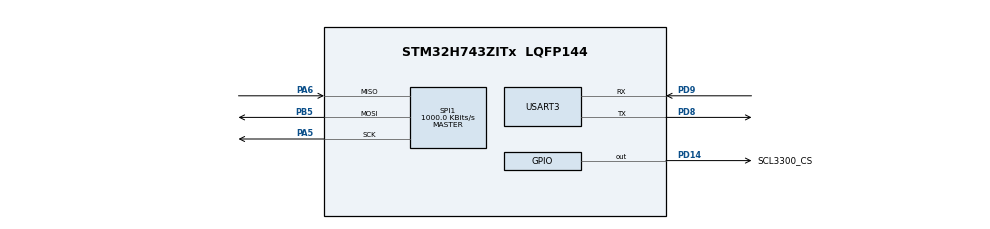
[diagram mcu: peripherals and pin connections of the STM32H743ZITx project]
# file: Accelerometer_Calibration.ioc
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CORTEX_M7.default_mode_Activation=1
Mcu.Family=STM32H7
Mcu.Name=STM32H743ZITx
Mcu.Package=LQFP144
NVIC.PriorityGroup=NVIC_PRIORITYGROUP_4
PA5.Mode=Full_Duplex_Master
PA5.Signal=SPI1_SCK
PA6.Mode=Full_Duplex_Master
PA6.Signal=SPI1_MISO
PB5.Mode=Full_Duplex_Master
PB5.Signal=SPI1_MOSI
PD14.GPIO_Label=SCL3300_CS
PD14.PinState=GPIO_PIN_SET
PD14.Signal=GPIO_Output
PD8.Mode=Asynchronous
PD8.Signal=USART3_TX
PD9.Mode=Asynchronous
PD9.Signal=USART3_RX
PH0-OSC_IN\ (PH0).Mode=HSE-External-Clock-Source
PH0-OSC_IN\ (PH0).Signal=RCC_OSC_IN
ProjectManager.HeapSize=0x200
ProjectManager.StackSize=0x400
ProjectManager.TargetToolchain=STM32CubeIDE
RCC.ADCFreq_Value=64500000
RCC.APB1Freq_Value=16000000
RCC.APB2Freq_Value=32000000
RCC.APB3Freq_Value=32000000
RCC.APB4Freq_Value=32000000
RCC.CortexFreq_Value=32000000
RCC.D2PPRE1=RCC_APB1_DIV2
RCC.DIVM1=4
RCC.DIVN1=10
RCC.HCLKFreq_Value=32000000
RCC.HSIDiv=RCC_PLLSAIDIVR_2
RCC.PLLFRACN=0
RCC.SPI123CLockSelection=RCC_SPI123CLKSOURCE_CLKP
RCC.SYSCLKFreq_VALUE=32000000
RCC.USART234578CLockSelection=RCC_USART234578CLKSOURCE_HSI
RCC.USBFreq_Value=40000000
SPI1.BaudRatePrescaler=SPI_BAUDRATEPRESCALER_32
SPI1.CalculateBaudRate=1000.0 KBits/s
SPI1.DataSize=SPI_DATASIZE_8BIT
SPI1.Direction=SPI_DIRECTION_2LINES
SPI1.MasterKeepIOState=SPI_MASTER_KEEP_IO_STATE_ENABLE
SPI1.Mode=SPI_MODE_MASTER
SPI1.VirtualType=VM_MASTER
USART3.VirtualMode-Asynchronous=VM_ASYNC
VP_MEMORYMAP_VS_MEMORYMAP.Mode=CurAppReg
board=NUCLEO-H743ZI2

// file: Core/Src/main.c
/* USER CODE BEGIN Header */
/**
  ******************************************************************************
  * @file           : main.c
  * @brief          : Main program body
  ******************************************************************************
  * @attention
  *
  * Copyright (c) 2026 STMicroelectronics.
  * All rights reserved.
  *
  * This software is licensed under terms that can be found in the LICENSE file
  * in the root directory of this software component.
  * If no LICENSE file comes with this software, it is provided AS-IS.
  *
  ******************************************************************************
  */
/* USER CODE END Header */
#include "main.h"
#include "memorymap.h"
#include "spi.h"
#include "usart.h"
#include "gpio.h"
/* USER CODE BEGIN Includes */
#include "scl3300.h"
#include "tinyml_online.h"
#include <stdio.h>
#include <string.h>
#include <stdint.h>
/* USER CODE END Includes */
/* USER CODE BEGIN PD */
#define UART_TIMEOUT_MS 100U
#define SENSOR_STARTUP_DELAY_MS 100U
#define MEASUREMENT_PERIOD_MS 20U
#define UART_BUFFER_SIZE 256U
/* USER CODE END PD */
/* USER CODE BEGIN PV */
static SCL3300_Handle_t scl3300_sensor;
static SCL3300_Diagnostics_t scl3300_diagnostics;
static SCL3300_Measurement_t scl3300_measurement;
static TinyML_OnlineResult_t tinyml_result;
static volatile stai_return_code tinyml_status;
static char uart_buffer[UART_BUFFER_SIZE];
/* USER CODE END PV */
void SystemClock_Config(void);
void PeriphCommonClock_Config(void);
static void MPU_Config(void);
/* USER CODE BEGIN PFP */
static void UART_SendString(const char *text);
static void UART_PrintRawMeasurement(const SCL3300_Measurement_t *measurement);
/* USER CODE END PFP */
/* USER CODE BEGIN 0 */
static void UART_SendString(const char *text)
{
  size_t text_length;
  if (text == NULL)
  {
    return;
  }
  text_length = strlen(text);
  if (text_length == 0U)
  {
    return;
  }
  if (text_length > UINT16_MAX)
  {
    text_length = UINT16_MAX;
  }
  (void)HAL_UART_Transmit(
      &huart3,
      (uint8_t *)text,
      (uint16_t)text_length,
      UART_TIMEOUT_MS);
}
static void UART_PrintRawMeasurement(const SCL3300_Measurement_t *measurement)
{
  int length;
  if (measurement == NULL)
  {
    return;
  }
  length = snprintf(
      uart_buffer,
      sizeof(uart_buffer),
      "%d,%d,%d,"
      "%.9f,%.9f,%.9f,"
      "%.9f,%.9f,%.9f,"
      "%.9f,%.9f\r\n",
      (int)measurement->acc_x_raw,
      (int)measurement->acc_y_raw,
      (int)measurement->acc_z_raw,
      tinyml_result.reference[0],
      tinyml_result.reference[1],
      tinyml_result.reference[2],
      tinyml_result.neural[0],
      tinyml_result.neural[1],
      tinyml_result.neural[2],
      tinyml_result.max_abs_error,
      tinyml_result.mean_abs_error);
  if (length <= 0)
  {
    return;
  }
  if ((size_t)length >= sizeof(uart_buffer))
  {
    length = (int)(sizeof(uart_buffer) - 1U);
  }
  (void)HAL_UART_Transmit(
      &huart3,
      (uint8_t *)uart_buffer,
      (uint16_t)length,
      UART_TIMEOUT_MS);
}
/* USER CODE END 0 */
int main(void)
{
  /* USER CODE BEGIN 1 */
  SCL3300_Status_t driver_status;
  /* USER CODE END 1 */
  /* MPU Configuration--------------------------------------------------------*/
  MPU_Config();
  /* MCU Configuration--------------------------------------------------------*/
  /* Reset of all peripherals, Initializes the Flash interface and the Systick. */
  HAL_Init();
  /* Configure the system clock */
  SystemClock_Config();
  /* Configure the peripherals common clocks */
  PeriphCommonClock_Config();
  /* Initialize all configured peripherals */
  MX_GPIO_Init();
  MX_SPI1_Init();
  MX_USART3_UART_Init();
  /* USER CODE BEGIN 2 */
  HAL_GPIO_WritePin(
      SCL3300_CS_GPIO_Port,
      SCL3300_CS_Pin,
      GPIO_PIN_SET);
  HAL_Delay(SENSOR_STARTUP_DELAY_MS);
  driver_status = SCL3300_InitHandle(
      &scl3300_sensor,
      &hspi1,
      SCL3300_CS_GPIO_Port,
      SCL3300_CS_Pin);
  if (driver_status != SCL3300_OK)
  {
    UART_SendString("SCL3300_INIT_ERROR\r\n");
    while (1)
    {
      HAL_Delay(1000U);
    }
  }
  driver_status = SCL3300_Start(
      &scl3300_sensor,
      SCL3300_MODE_1,
      &scl3300_diagnostics);
  if (driver_status != SCL3300_OK)
  {
    UART_SendString("SCL3300_START_ERROR\r\n");
    while (1)
    {
      HAL_Delay(1000U);
    }
  }
  tinyml_status = TinyML_Online_Init();
  if (tinyml_status != STAI_SUCCESS)
  {
    UART_SendString("TINYML_INIT_ERROR\r\n");
    while (1)
    {
      HAL_Delay(1000U);
    }
  }
  UART_SendString(
      "raw_x,raw_y,raw_z,"
      "ref_x,ref_y,ref_z,"
      "nn_x,nn_y,nn_z,"
      "max_abs_error,mean_abs_error\r\n");
  /* USER CODE END 2 */
  /* Infinite loop */
  while (1)
  {
    /* USER CODE BEGIN 3 */
    driver_status = SCL3300_ReadMeasurement(
        &scl3300_sensor,
        &scl3300_measurement);
    if (driver_status == SCL3300_OK)
    {
      tinyml_status = TinyML_Online_Run(
          scl3300_measurement.acc_x_raw,
          scl3300_measurement.acc_y_raw,
          scl3300_measurement.acc_z_raw,
          &tinyml_result);
      if (tinyml_status == STAI_SUCCESS)
      {
        UART_PrintRawMeasurement(&scl3300_measurement);
      }
    }
    HAL_Delay(MEASUREMENT_PERIOD_MS);
  }
  /* USER CODE END 3 */
}
void SystemClock_Config(void)
{
  RCC_OscInitTypeDef RCC_OscInitStruct = {0};
  RCC_ClkInitTypeDef RCC_ClkInitStruct = {0};
  /* Supply configuration update enable */
  HAL_PWREx_ConfigSupply(PWR_LDO_SUPPLY);
  /* Configure the main internal regulator output voltage */
  __HAL_PWR_VOLTAGESCALING_CONFIG(PWR_REGULATOR_VOLTAGE_SCALE3);
  while (!__HAL_PWR_GET_FLAG(PWR_FLAG_VOSRDY))
  {
  }
  /* Initializes the RCC Oscillators according to the specified parameters
  * in the RCC_OscInitTypeDef structure.
  */
  RCC_OscInitStruct.OscillatorType = RCC_OSCILLATORTYPE_HSI;
  RCC_OscInitStruct.HSIState = RCC_HSI_DIV2;
  RCC_OscInitStruct.HSICalibrationValue = RCC_HSICALIBRATION_DEFAULT;
  RCC_OscInitStruct.PLL.PLLState = RCC_PLL_NONE;
  if (HAL_RCC_OscConfig(&RCC_OscInitStruct) != HAL_OK)
  {
    Error_Handler();
  }
  /* Initializes the CPU, AHB and APB buses clocks */
  RCC_ClkInitStruct.ClockType =
      RCC_CLOCKTYPE_HCLK |
      RCC_CLOCKTYPE_SYSCLK |
      RCC_CLOCKTYPE_PCLK1 |
      RCC_CLOCKTYPE_PCLK2 |
      RCC_CLOCKTYPE_D3PCLK1 |
      RCC_CLOCKTYPE_D1PCLK1;
  RCC_ClkInitStruct.SYSCLKSource = RCC_SYSCLKSOURCE_HSI;
  RCC_ClkInitStruct.SYSCLKDivider = RCC_SYSCLK_DIV1;
  RCC_ClkInitStruct.AHBCLKDivider = RCC_HCLK_DIV1;
  RCC_ClkInitStruct.APB3CLKDivider = RCC_APB3_DIV1;
  RCC_ClkInitStruct.APB1CLKDivider = RCC_APB1_DIV2;
  RCC_ClkInitStruct.APB2CLKDivider = RCC_APB2_DIV1;
  RCC_ClkInitStruct.APB4CLKDivider = RCC_APB4_DIV1;
  if (HAL_RCC_ClockConfig(&RCC_ClkInitStruct, FLASH_LATENCY_0) != HAL_OK)
  {
    Error_Handler();
  }
}
void PeriphCommonClock_Config(void)
{
  RCC_PeriphCLKInitTypeDef PeriphClkInitStruct = {0};
  /* Initializes the peripherals clock */
  PeriphClkInitStruct.PeriphClockSelection = RCC_PERIPHCLK_CKPER;
  PeriphClkInitStruct.CkperClockSelection = RCC_CLKPSOURCE_HSI;
  if (HAL_RCCEx_PeriphCLKConfig(&PeriphClkInitStruct) != HAL_OK)
  {
    Error_Handler();
  }
}
/**
  * @brief MPU Configuration
  * @retval None
  */
void MPU_Config(void)
{
  MPU_Region_InitTypeDef MPU_InitStruct = {0};
  /* Disables the MPU */
  HAL_MPU_Disable();
  /* Initializes and configures the Region and the memory to be protected */
  MPU_InitStruct.Enable = MPU_REGION_ENABLE;
  MPU_InitStruct.Number = MPU_REGION_NUMBER0;
  MPU_InitStruct.BaseAddress = 0x0;
  MPU_InitStruct.Size = MPU_REGION_SIZE_4GB;
  MPU_InitStruct.SubRegionDisable = 0x87;
  MPU_InitStruct.TypeExtField = MPU_TEX_LEVEL0;
  MPU_InitStruct.AccessPermission = MPU_REGION_NO_ACCESS;
  MPU_InitStruct.DisableExec = MPU_INSTRUCTION_ACCESS_DISABLE;
  MPU_InitStruct.IsShareable = MPU_ACCESS_SHAREABLE;
  MPU_InitStruct.IsCacheable = MPU_ACCESS_NOT_CACHEABLE;
  MPU_InitStruct.IsBufferable = MPU_ACCESS_NOT_BUFFERABLE;
  HAL_MPU_ConfigRegion(&MPU_InitStruct);
  /* Enables the MPU */
  HAL_MPU_Enable(MPU_PRIVILEGED_DEFAULT);
}
void Error_Handler(void)
{
  __disable_irq();
  while (1)
  {
  }
}
#ifdef USE_FULL_ASSERT
/**
  * @brief  Reports the name of the source file and the source line number
  *         where the assert_param error has occurred.
  * @param  file: pointer to the source file name
  * @param  line: assert_param error line source number
  * @retval None
  */
void assert_failed(uint8_t *file, uint32_t line)
{
  /* USER CODE BEGIN 6 */
  (void)file;
  (void)line;
  /* USER CODE END 6 */
}
#endif /* USE_FULL_ASSERT */
